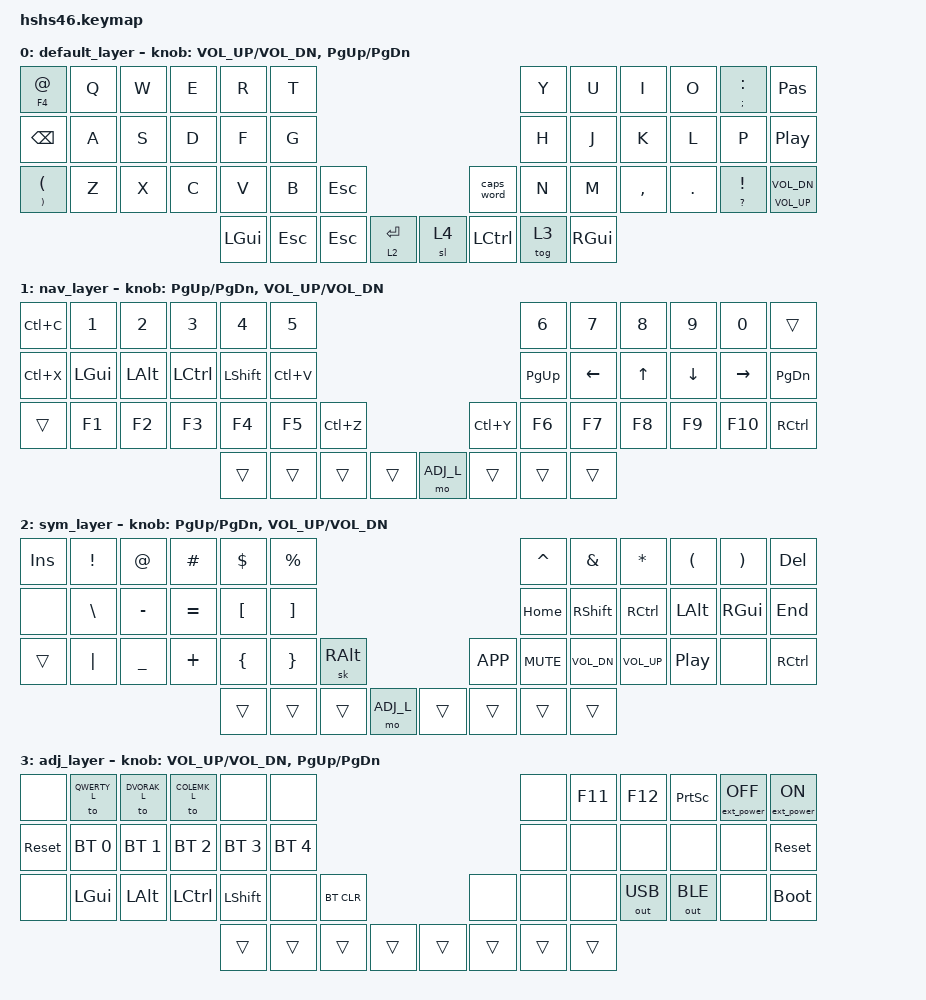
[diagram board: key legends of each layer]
/*
 * Copyright (c) 2021-2022 The ZMK Contributors
 * SPDX-License-Identifier: MIT
 */

#define ZMK_POINTING_DEFAULT_MOVE_VAL 1500  // default: 600
#define ZMK_POINTING_DEFAULT_SCRL_VAL 20    // default: 10


#include <dt-bindings/zmk/bt.h>
#include <dt-bindings/zmk/ext_power.h>
#include <dt-bindings/zmk/keys.h>
#include <dt-bindings/zmk/outputs.h>
#include <behaviors.dtsi>
#include <dt-bindings/zmk/bt.h>
#include <dt-bindings/zmk/keys.h>
#include <dt-bindings/zmk/pointing.h>


#define QWERTY_L 0
#define NAV_L    1
#define SYM_L    2
#define ADJ_L    3

#define Undo   LC(Z)
#define Cut    LC(X)
#define Copy   LC(C)
#define Paste  LC(V)
#define Redo   LC(Y)


/ {
        keymap {
                compatible = "zmk,keymap";

                default_layer {
/* QWERTY
 * -------------------------------------------------------------------------------------------------------------------------------------
 * | `     |   Q   |   W   |   E   |   R   |   T   |-----------------------------------|   Y   |   U   |   I   |   O   |   P   | BKSPC |
 * | TAB   |   A   |   S   |   D   |   F   |   G   |-----------------------------------|   H   |   J   |   K   |   L   |   ;   | ENTER |
 * | CTRL  |   Z   |   X   |   C   |   V   |   B   |  ESC  |-------------------|  CAPS |   N   |   M   |   ,   |   .   |   /   |   '   |
 *                                 |  GUI  |  ALT  |SK SHFT|  Nav  |---|  Sym  | SPACE |  ALT  |  GUI  |
 */
                        bindings = <
&mt F4 AT    &kp  Q        &kp  W        &kp  E        &kp  R        &kp  T                                                                         &kp  Y        &kp  U        &kp  I        &kp  O        &mt SEMICOLON COLON  &Pas  
&kp BACKSPACE      &kp  A        &kp  S        &kp  D        &kp  F        &kp  G                                                                         &kp  H        &kp  J        &kp  K        &kp  L        &kp  P     &kp C_PLAY_PAUSE
&mt RIGHT_PARENTHESIS LEFT_PARENTHESIS    &kp  Z        &kp  X        &kp  C        &kp  V        &kp  B        &kp  ESC                                           &caps_word    &kp  N        &kp  M        &kp COMMA  &kp DOT  &mt QUESTION EXCLAMATION  &mt C_VOLUME_UP C_VOL_DN
                                                        &kp  LGUI     &kp ESC  &kp ESC  &lt 2 ENTER            &sl 4  &kp LEFT_CONTROL  &tog 3    &kp  RGUI
                        >;

                        sensor-bindings = <&inc_dec_kp C_VOL_UP C_VOL_DN &inc_dec_kp PG_UP PG_DN>;
                };

                nav_layer {
/* NAV
 * -------------------------------------------------------------------------------------------------------------------------------------
 * | Copy  |   1   |   2   |   3   |   4   |   5   |-----------------------------------|   6   |   7   |   8   |   9   |   0   | BSPC  |
 * | Cut   |  GUI  |  Alt  | Ctrl  | Shift | Paste |-----------------------------------| PG UP |  Left |  Up   |  Down | Right | PG DN |
 * | Ctrl  |  F1   |  F2   |  F3   |  F4   |  F5   |  UnDo |-------------------| ReDo  |  F6   |  F7   |  F8   |  F9   |  F10  | Ctrl  |
 *                                 |       |       |       |       |---| ADJ_L |       |       |       |
 */
                        bindings = <
&kp  Copy     &kp  N1       &kp  N2       &kp  N3       &kp  N4       &kp  N5                                                                        &kp   N6      &kp   N7      &kp   N8      &kp   N9      &kp  N0       &trans
&kp  Cut      &kp  LGUI     &kp  LALT     &kp  LCTRL    &kp  LSHFT    &kp  Paste                                                                     &kp   PG_UP   &kp  LEFT    &kp   UP      &kp   DOWN    &kp  RIGHT    &kp PG_DN
&trans        &kp  F1       &kp  F2       &kp  F3       &kp  F4       &kp  F5       &kp Undo                                           &kp  Redo     &kp   F6      &kp  F7      &kp   F8      &kp   F9      &kp  F10      &kp RCTRL
                                                        &trans        &trans        &trans        &trans                 &mo ADJ_L     &trans        &trans        &trans
                        >;

                        sensor-bindings = <&inc_dec_kp PG_UP PG_DN &inc_dec_kp C_VOL_UP C_VOL_DN>;
                };

                sym_layer {
/* SYM
 * -------------------------------------------------------------------------------------------------------------------------------------
 * | INS   |   !   |   @   |   #   |   $   |   %   |-----------------------------------|   ^   |   &   |   *   |   (   |   )   | BSPC  |
 * |       |   \   |   -   |   =   |   [   |   ]   |-----------------------------------| HOME  | Shift | Ctrl  | Alt   | Gui   | END   |
 * | Ctrl  |   |   |   _   |   +   |   {   |   }   |SkAltGr|-------------------| MENU  | Mute  | Vol-  | Vol+  | Play  |       | Ctrl  |
 *                                 |       |       |       |  ADJ_L |---|      |       |       |       |
 */
                        bindings = <
&kp  INS      &kp  EXCL     &kp  AT       &kp  HASH     &kp  DOLLAR   &kp  PERCENT                                                                   &kp  CARET    &kp  AMPS     &kp  ASTRK    &kp  LPAR     &kp  RPAR     &kp DEL
&none         &kp  BSLH     &kp  MINUS    &kp  EQUAL    &kp  LBKT     &kp  RBKT                                                                      &kp  HOME     &kp  RSHFT    &kp  RCTRL    &kp  LALT     &kp  RGUI     &kp END
&trans        &kp  PIPE     &kp  UNDER    &kp  PLUS     &kp  LBRC     &kp  RBRC     &sk  RALT                                          &kp K_APP     &kp  C_MUTE   &kp  C_VOL_DN &kp  C_VOL_UP &kp  C_PP     &none         &kp RCTRL
                                                        &trans        &trans        &trans       &mo  ADJ_L               &trans       &trans        &trans        &trans
                        >;

                        sensor-bindings = <&inc_dec_kp PG_UP PG_DN &inc_dec_kp C_VOL_UP C_VOL_DN>;
                };

                adj_layer {
/* ADJUST
 * -------------------------------------------------------------------------------------------------------------------------------------
 * |       | QWERTY| DVORAK| COLEMK|       |       |-----------------------------------|       |  F11  |  F12  |Prt Scr|EP_OFF | EP_ON |
 * | RESET | BT 0  | BT 1  | BT 2  | BT 3  | BT 4  |-----------------------------------|       |       |       |       |       | RESET |
 * |       | LGUI  | LALT  | LCTRL | LSHIFT|       |BT CLR |-------------------|       |       |       |OUT_USB|OUT_BLE|       | BOOTL |
 *                                 |       |       |       |       |---|       |       |       |       |
 */
                        bindings = <
&none         &to  QWERTY_L &to  DVORAK_L &to  COLEMK_L &none         &none                                                                             &none             &kp   F11          &kp   F12  &kp PRINTSCREEN   &ext_power EP_OFF  &ext_power EP_ON
&sys_reset        &bt  BT_SEL 0 &bt  BT_SEL 1 &bt  BT_SEL 2 &bt  BT_SEL 3 &bt  BT_SEL 4                                                                     &none             &none              &none            &none          &none           &sys_reset
&none         &kp  LGUI     &kp  LALT     &kp  LCTRL    &kp LSHIFT    &none         &bt BT_CLR                                         &none            &none             &none              &out  OUT_USB    &out  OUT_BLE  &none           &bootloader
                                                        &trans        &trans        &trans        &trans                 &trans        &trans           &trans            &trans
                        >;

                        sensor-bindings = <&inc_dec_kp C_VOL_UP C_VOL_DN &inc_dec_kp PG_UP PG_DN>;
                };
        };
};
